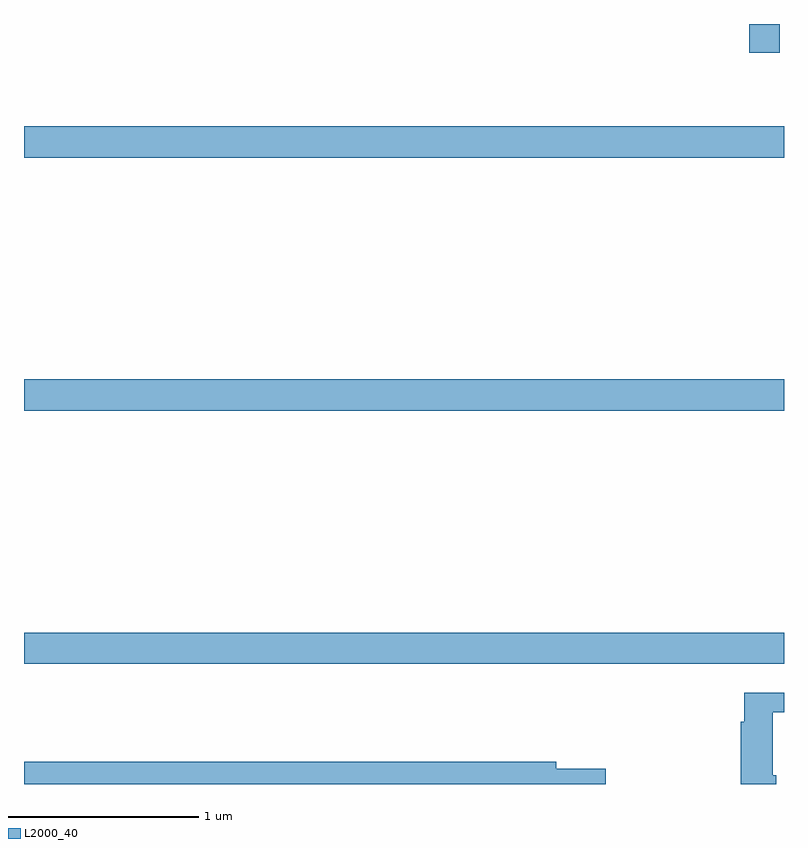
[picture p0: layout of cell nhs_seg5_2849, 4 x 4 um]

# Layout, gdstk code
import gdstk
lib = gdstk.Library(unit=1e-6, precision=1e-09)
def R(c, l, rs):  # rectangles x0, y0, x1, y1
    for r in rs: c.add(gdstk.rectangle(r[:2], r[2:], *l))
def A(c, l, x, y, w, h, nx, ny, dx, dy):  # array of equal rectangles
    R(c, l, [(x+i*dx, y+j*dy, x+i*dx+w, y+j*dy+h) for i in range(nx) for j in range(ny)])
def P(c, l, *ps):  # polygons
    for p in ps: c.add(gdstk.Polygon(p, *l))
L2000_40 = (2000, 40)

nhs_seg5_2849 = lib.new_cell('nhs_seg5_2849')
A(nhs_seg5_2849, L2000_40, 277, 851.432, 4, 0.164, 1, 3, 0, 1.332)
R(nhs_seg5_2849, L2000_40, [(280.817,854.649,280.977,854.799)])
P(nhs_seg5_2849, L2000_40, [(280.96,850.846),(280.942,850.846),(280.942,851.176),(281,851.176),(281,851.278),(280.79,851.278),(280.79,851.127),(280.772,851.127),(280.772,850.799),(280.96,850.799)],
  [(280.063,850.88),(279.802,850.88),(279.802,850.916),(277,850.916),(277,850.799),(280.063,850.799)])

lib.write_gds('nhs_seg5_2849.gds')
